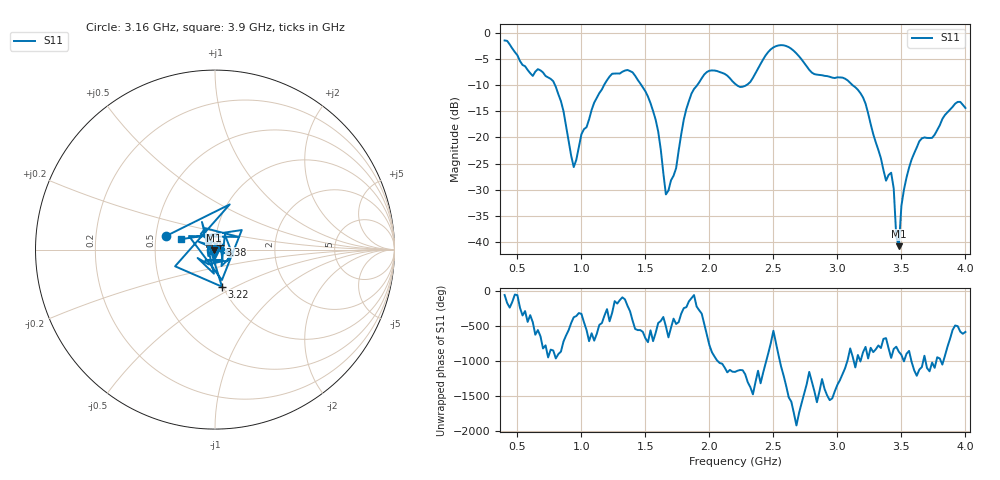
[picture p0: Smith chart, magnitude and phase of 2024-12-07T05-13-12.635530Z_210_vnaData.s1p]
!Created with skrf (http://scikit-rf.org).
# Hz S RI R 50.0
!freq ReS11 ImS11
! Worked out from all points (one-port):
!   181 points, 400 MHz to 4 GHz, reference 50 ohm
!   lowest |S11| = -40.8 dB at 3.48 GHz (marker M1), VSWR 1.02, Z = 49.2 - j0.478 ohm
!   |S11| at or under -10 dB: 793.7 MHz to 1.177 GHz (383.4 MHz wide, 38.9 % of centre); 1.468 GHz to 1.905 GHz (437.4 MHz wide, 25.9 % of centre); 3.118 GHz to end of sweep (the widest 3 of 4)
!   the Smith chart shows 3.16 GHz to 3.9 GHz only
!   S11 on the Smith chart (normalised r, x): 3.16 GHz: 0.56, +0.09; 3.22 GHz: 0.99, -0.43; 3.38 GHz: 1.05, +0.06; 3.9 GHz: 0.68, +0.08
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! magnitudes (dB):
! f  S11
! 400 MHz  -1.5
! 780 MHz  -9.3
! 860 MHz  -15.0
! 940 MHz  -25.7
! 1.1 GHz  -13.3
! 1.3 GHz  -7.8
! 1.4 GHz  -7.6
! 1.54 GHz  -13.5
! 1.6 GHz  -18.9
! 1.66 GHz  -30.9
! 1.76 GHz  -22.5
! 1.84 GHz  -13.1
! 1.96 GHz  -8.0
! 2.2 GHz  -9.7
! 2.5 GHz  -2.8
! 2.66 GHz  -3.5
! 3.1 GHz  -9.6
! 3.16 GHz  -10.9
! 3.22 GHz  -13.5
! 3.38 GHz  -28.3
! 3.42 GHz  -26.7
! 3.44 GHz  -29.7
! 3.46 GHz  -38.9
! 3.48 GHz  -40.8
! 3.5 GHz  -33.1
! 3.56 GHz  -25.8
! 3.9 GHz  -14.2
! 4 GHz  -14.4
